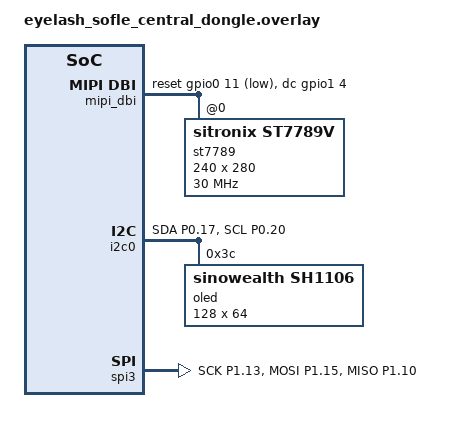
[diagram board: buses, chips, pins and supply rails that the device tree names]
/*
*
* Copyright (c) 2021 Darryl deHaan
* SPDX-License-Identifier: MIT
*
*/

#include "eyelash_sofle.dtsi"

/{
    chosen {
        zmk,kscan = &mock_kscan;
        zephyr,display = &oled;
    };
    mock_kscan: kscan_1 {
        compatible = "zmk,kscan-mock";
        columns = <0>;
        rows = <0>;
        events = <0>;
    };
};

&pinctrl {
    i2c0_default: i2c0_default {
        group1 {
            psels = <NRF_PSEL(TWIM_SDA, 0, 17)>,
                <NRF_PSEL(TWIM_SCL, 0, 20)>;
        };
    };

    i2c0_sleep: i2c0_sleep {
        group1 {
            psels = <NRF_PSEL(TWIM_SDA, 0,17)>,
                <NRF_PSEL(TWIM_SCL, 0, 20)>;
            low-power-enable;
        };
    };	
}; 

&i2c0 {
	status = "okay";
	compatible = "nordic,nrf-twi";
    pinctrl-0 = <&i2c0_default>;
    pinctrl-1 = <&i2c0_sleep>;
	oled: sh1106@3c {
        compatible = "sinowealth,sh1106";
        reg = <0x3c>;
        width = <128>;
        height = <64>;
        segment-offset = <2>;
        page-offset = <0>;
        display-offset = <0>;
        multiplex-ratio = <63>;
        prechargep = <0x22>;
	};
};













































 spi3_default: spi3_default {
        group1 {
            psels = <NRF_PSEL(SPIM_SCK, 1, 13)>,
                    <NRF_PSEL(SPIM_MOSI, 1, 15)>,
                    <NRF_PSEL(SPIM_MISO, 1, 10)>;
        };
    };

    spi3_sleep: spi3_sleep {
        group1 {
            psels = <NRF_PSEL(SPIM_SCK, 1, 13)>,
                    <NRF_PSEL(SPIM_MOSI, 1, 15)>,
                    <NRF_PSEL(SPIM_MISO, 1, 10)>;
            low-power-enable;
        };
    };


disp_spi: &spi3 {
    status = "okay";
    pinctrl-0 = <&spi3_default>;
    pinctrl-1 = <&spi3_sleep>;
    pinctrl-names = "default", "sleep";
    cs-gpios = <&gpio1 6 GPIO_ACTIVE_LOW>;
};

/ {
    mipi_dbi {
        compatible = "zephyr,mipi-dbi-spi";
        spi-dev = <&spi3>;
        dc-gpios = <&gpio1 4 GPIO_ACTIVE_HIGH>;
        reset-gpios = <&gpio0 11 GPIO_ACTIVE_LOW>;
        write-only;
        #address-cells = <1>;
        #size-cells = <0>;

        st7789: st7789v@0 {
            compatible = "sitronix,st7789v";
            mipi-max-frequency = <30000000>;
            mipi-mode = "MIPI_DBI_MODE_SPI_4WIRE";
            reg = <0>;
            width = <240>;
            height = <280>;
            x-offset = <0>;
            y-offset = <20>;
            vcom = <0x19>;
            gctrl = <0x35>;
            vrhs = <0x12>;
            vdvs = <0x20>;
            mdac = <0x00>;
            gamma = <0x01>;
            colmod = <0x05>;
            lcm = <0x2c>;
            porch-param = [0c 0c 00 33 33];
            cmd2en-param = [5a 69 02 01];
            pwctrl1-param = [a4 a1];
            pvgam-param = [d0 04 0d 11 13 2b 3f 54 4c 18 0d 0b 1f 23];
            nvgam-param = [d0 04 0c 11 13 2c 3f 44 51 2f 1f 1f 20 23];
            ram-param = [00 f0];
            rgb-param = [cd 08 14];
        };
    };
};
